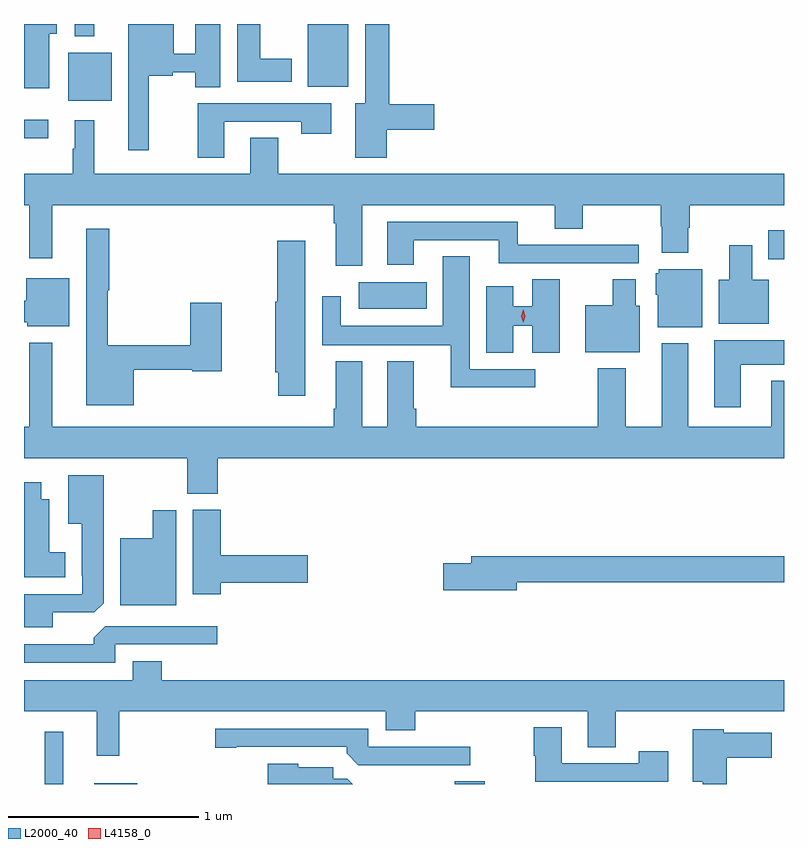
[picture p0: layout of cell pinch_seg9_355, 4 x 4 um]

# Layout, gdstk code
import gdstk
lib = gdstk.Library(unit=1e-6, precision=1e-09)
def R(c, l, rs):  # rectangles x0, y0, x1, y1
    for r in rs: c.add(gdstk.rectangle(r[:2], r[2:], *l))
def P(c, l, *ps):  # polygons
    for p in ps: c.add(gdstk.Polygon(p, *l))
L2000_40 = (2000, 40)
L4158_0 = (4158, 0)

pinch_seg9_355 = lib.new_cell('pinch_seg9_355')
R(pinch_seg9_355, L2000_40, [(634.323,1165.401,634.42,1165.675), (634.583,1165.401,634.81,1165.405), (636.482,1165.401,636.64,1165.415), (635.976,1167.902,636.334,1168.042), (638.132,1168.163,638.214,1168.315), (634.214,1168.8,634.342,1168.896), (634.448,1168.997,634.675,1169.251), (635.708,1169.072,635.92,1169.401), (634.481,1169.336,634.585,1169.401)])
P(pinch_seg9_355, L2000_40, [(635.623,1169.218),(635.458,1169.218),(635.458,1169.401),(635.336,1169.401),(635.336,1169.096),(635.623,1169.096)],
  [(634.348,1169.35),(634.387,1169.35),(634.387,1169.401),(634.214,1169.401),(634.214,1169.064),(634.348,1169.064)],
  [(634.87,1169.128),(634.998,1169.128),(634.998,1169.147),(635.114,1169.147),(635.114,1169.068),(635.248,1169.068),(635.248,1169.401),(635.114,1169.401),(635.114,1169.245),(635.002,1169.245),(635.002,1169.401),(634.763,1169.401),(634.763,1168.737),(634.87,1168.737)],
  [(636.124,1168.844),(636.373,1168.844),(636.373,1168.979),(636.137,1168.979),(636.137,1169.401),(636.011,1169.401),(636.011,1168.984),(635.957,1168.984),(635.957,1168.698),(636.124,1168.698)],
  [(635.269,1168.887),(635.674,1168.887),(635.674,1168.824),(635.83,1168.824),(635.83,1168.983),(635.129,1168.983),(635.129,1168.698),(635.269,1168.698)],
  [(635.995,1168.448),(637.007,1168.448),(637.007,1168.324),(637.155,1168.324),(637.155,1168.448),(637.564,1168.448),(637.564,1168.336),(637.571,1168.336),(637.571,1168.196),(637.711,1168.196),(637.711,1168.328),(637.719,1168.328),(637.719,1168.448),(638.214,1168.448),(638.214,1168.612),(635.553,1168.612),(635.553,1168.802),(635.405,1168.802),(635.405,1168.612),(634.585,1168.612),(634.585,1168.894),(634.481,1168.894),(634.481,1168.745),(634.471,1168.745),(634.471,1168.612),(634.214,1168.612),(634.214,1168.448),(634.242,1168.448),(634.242,1168.167),(634.363,1168.167),(634.363,1168.448),(635.843,1168.448),(635.843,1168.352),(635.855,1168.352),(635.855,1168.128),(635.995,1168.128)],
  [(636.265,1168.263),(636.713,1168.263),(636.713,1168.143),(637.45,1168.143),(637.45,1168.239),(636.812,1168.239),(636.812,1168.359),(636.125,1168.359),(636.125,1168.134),(636.265,1168.134)],
  [(634.792,1167.582),(635.1,1167.582),(635.1,1167.574),(635.254,1167.574),(635.254,1167.934),(635.089,1167.934),(635.089,1167.71),(634.655,1167.71),(634.655,1167.999),(634.663,1167.999),(634.663,1168.324),(634.541,1168.324),(634.541,1167.395),(634.792,1167.395)],
  [(635.695,1168.261),(635.546,1168.261),(635.546,1167.939),(635.537,1167.939),(635.537,1167.567),(635.551,1167.567),(635.551,1167.444),(635.695,1167.444)],
  [(638.134,1168.054),(638.047,1168.054),(638.047,1168.237),(637.925,1168.237),(637.925,1168.054),(637.871,1168.054),(637.871,1167.824),(638.134,1167.824)],
  [(636.904,1167.585),(636.559,1167.585),(636.559,1168.178),(636.419,1168.178),(636.419,1167.814),(635.88,1167.814),(635.88,1167.967),(635.784,1167.967),(635.784,1167.71),(636.461,1167.71),(636.461,1167.488),(636.904,1167.488)],
  [(637.783,1168.111),(637.554,1168.111),(637.554,1168.089),(637.538,1168.089),(637.538,1167.975),(637.55,1167.975),(637.55,1167.806),(637.783,1167.806)],
  [(634.453,1168.063),(634.226,1168.063),(634.226,1167.945),(634.214,1167.945),(634.214,1167.831),(634.23,1167.831),(634.23,1167.809),(634.453,1167.809)],
  [(637.456,1167.918),(637.435,1167.918),(637.435,1168.058),(637.313,1168.058),(637.313,1167.922),(637.169,1167.922),(637.169,1167.674),(637.456,1167.674)],
  [(636.79,1167.814),(636.89,1167.814),(636.89,1167.67),(637.033,1167.67),(637.033,1168.058),(636.89,1168.058),(636.89,1167.915),(636.79,1167.915),(636.79,1168.021),(636.647,1168.021),(636.647,1167.67),(636.79,1167.67)],
  [(637.987,1167.608),(638.214,1167.608),(638.214,1167.736),(637.847,1167.736),(637.847,1167.384),(637.987,1167.384)],
  [(635.234,1167.116),(638.214,1167.116),(638.214,1167.523),(638.147,1167.523),(638.147,1167.28),(637.711,1167.28),(637.711,1167.721),(637.571,1167.721),(637.571,1167.28),(637.381,1167.28),(637.381,1167.589),(637.234,1167.589),(637.234,1167.28),(636.278,1167.28),(636.278,1167.376),(636.265,1167.376),(636.265,1167.625),(636.125,1167.625),(636.125,1167.28),(635.995,1167.28),(635.995,1167.625),(635.855,1167.625),(635.855,1167.376),(635.843,1167.376),(635.843,1167.28),(634.363,1167.28),(634.363,1167.724),(634.242,1167.724),(634.242,1167.28),(634.214,1167.28),(634.214,1167.116),(635.074,1167.116),(635.074,1166.929),(635.234,1166.929)],
  [(634.366,1166.304),(634.584,1166.304),(634.633,1166.353),(634.633,1167.025),(634.448,1167.025),(634.448,1166.771),(634.517,1166.771),(634.517,1166.497),(634.521,1166.497),(634.521,1166.4),(634.214,1166.4),(634.214,1166.225),(634.366,1166.225)],
  [(634.432,1166.62),(634.348,1166.62),(634.348,1166.899),(634.306,1166.899),(634.306,1166.989),(634.214,1166.989),(634.214,1166.489),(634.432,1166.489)],
  [(635.249,1166.459),(635.707,1166.459),(635.707,1166.606),(635.249,1166.606),(635.249,1166.844),(635.102,1166.844),(635.102,1166.4),(635.249,1166.4)],
  [(635.014,1166.842),(634.892,1166.842),(634.892,1166.695),(634.721,1166.695),(634.721,1166.342),(635.014,1166.342)],
  [(636.808,1166.464),(638.214,1166.464),(638.214,1166.6),(636.569,1166.6),(636.569,1166.564),(636.42,1166.564),(636.42,1166.422),(636.808,1166.422)],
  [(634.695,1166.136),(635.23,1166.136),(635.23,1166.232),(634.641,1166.232),(634.58,1166.17),(634.58,1166.136),(634.214,1166.136),(634.214,1166.04),(634.695,1166.04)],
  [(634.94,1166.047),(634.787,1166.047),(634.787,1165.948),(634.214,1165.948),(634.214,1165.784),(634.598,1165.784),(634.598,1165.551),(634.715,1165.551),(634.715,1165.784),(636.119,1165.784),(636.119,1165.685),(636.272,1165.685),(636.272,1165.784),(637.181,1165.784),(637.181,1165.594),(637.329,1165.594),(637.329,1165.784),(638.214,1165.784),(638.214,1165.948),(634.94,1165.948)],
  [(637.606,1165.573),(637.45,1165.573),(637.45,1165.509),(637.045,1165.509),(637.045,1165.699),(636.898,1165.699),(636.898,1165.551),(636.905,1165.551),(636.905,1165.413),(637.606,1165.413)],
  [(636.562,1165.596),(636.027,1165.596),(636.027,1165.692),(635.22,1165.692),(635.22,1165.591),(635.332,1165.591),(635.332,1165.596),(635.912,1165.596),(635.912,1165.562),(635.973,1165.5),(636.562,1165.5)],
  [(637.913,1165.538),(638.149,1165.538),(638.149,1165.672),(637.896,1165.672),(637.896,1165.69),(637.733,1165.69),(637.733,1165.412),(637.787,1165.412),(637.787,1165.401),(637.913,1165.401)],
  [(635.916,1165.428),(635.842,1165.428),(635.842,1165.489),(635.658,1165.489),(635.658,1165.507),(635.498,1165.507),(635.498,1165.401),(635.943,1165.401)])
P(pinch_seg9_355, L4158_0, [(636.841,1167.83),(636.841,1167.83),(636.831,1167.863),(636.841,1167.897),(636.841,1167.897),(636.842,1167.897),(636.851,1167.863),(636.842,1167.83)])

lib.write_gds('pinch_seg9_355.gds')
